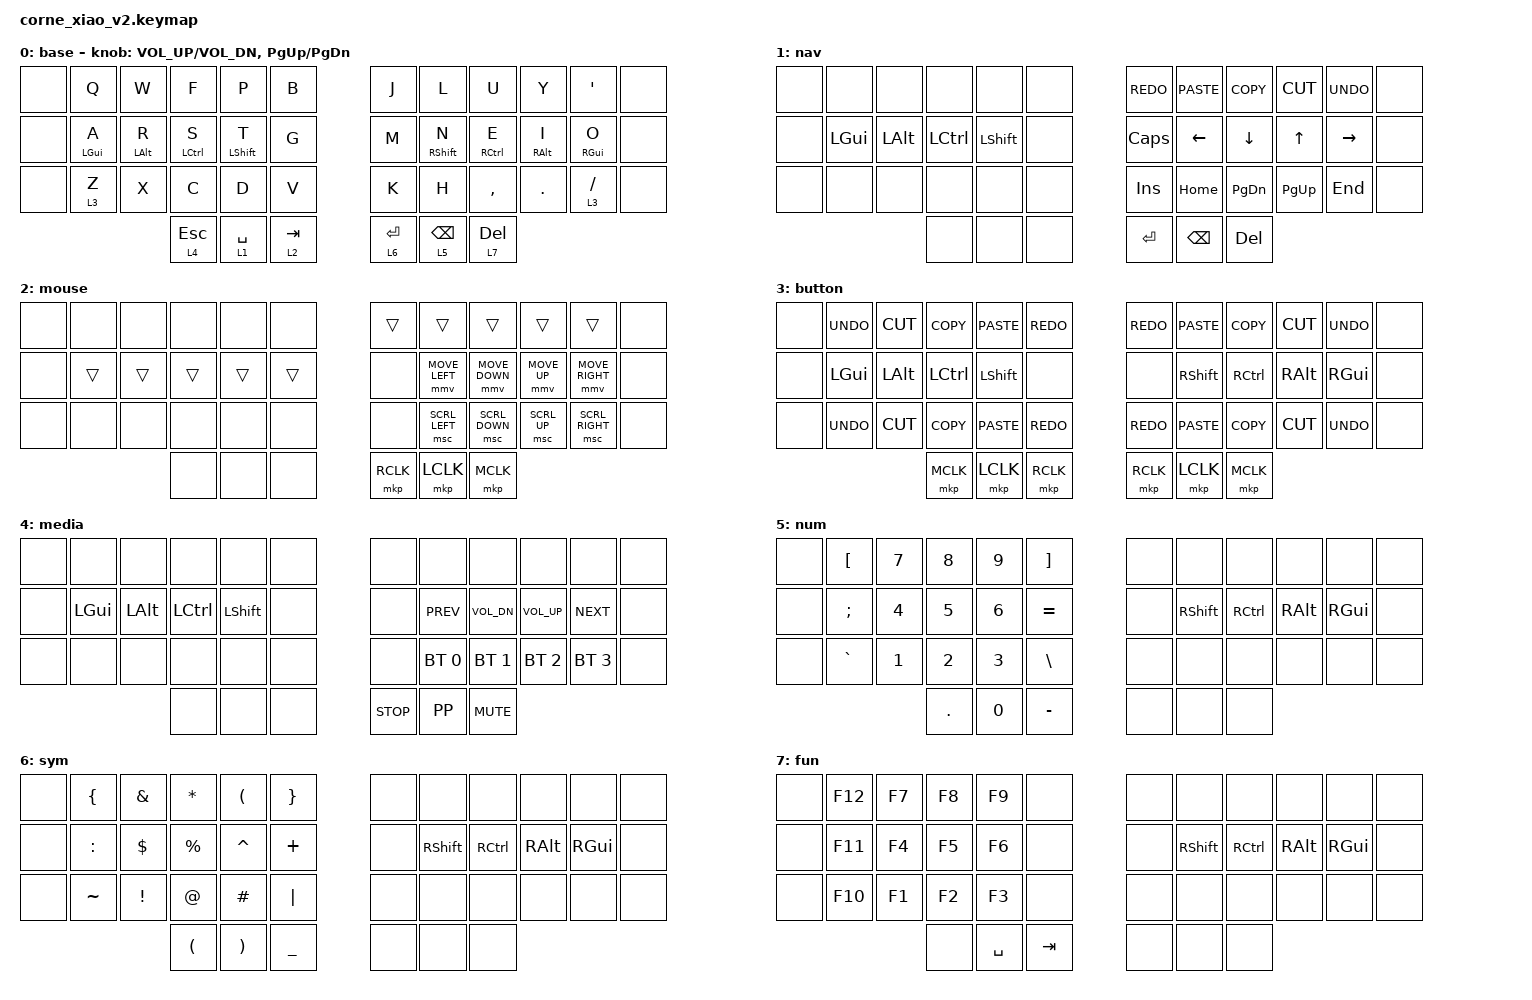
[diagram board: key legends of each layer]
#include <behaviors.dtsi>
#include <dt-bindings/zmk/bt.h>
#include <dt-bindings/zmk/keys.h>
#include <dt-bindings/zmk/pointing.h>

/ {
    combos {
        compatible = "zmk,combos";

        combo_studio_unlock {
            timeout-ms = <50>;
            key-positions = <0 1>;
            bindings = <&studio_unlock>;
        };
    };
};

/ {
    behaviors {
        hl: home_row_mod_left {
            compatible = "zmk,behavior-hold-tap";
            #binding-cells = <2>;
            flavor = "balanced";
            require-prior-idle-ms = <150>;
            tapping-term-ms = <280>;
            quick-tap-ms = <175>;
            bindings = <&kp>, <&kp>;
            hold-trigger-key-positions = < ... >; // List of keys on the right side of the keyboard
            hold-trigger-on-release;
        };
        hr: home_row_mod_right {
            compatible = "zmk,behavior-hold-tap";
            #binding-cells = <2>;
            flavor = "balanced";
            require-prior-idle-ms = <150>;
            tapping-term-ms = <280>;
            quick-tap-ms = <175>;
            bindings = <&kp>, <&kp>;
            hold-trigger-key-positions = < ... >; // List of keys on the left side of the keyboard
            hold-trigger-on-release;
        };
    };
};

/ {
    keymap {
        compatible = "zmk,keymap";

        default_layer {
            display-name = "base";
            sensor-bindings = <&inc_dec_kp C_VOL_UP C_VOL_DN &inc_dec_kp PG_UP PG_DN>;

            // -------------------------------------------------------------------------------------------------
            // |  TAB |  Q  |  W  |  E  |  R  |  T  |                    |  Y  |  U   |  I  |  O  |  P  | BKSP |
            // |  ESC |  A  |  S  |  D  |  F  |  G  |                    |  H  |  J   |  K  |  L  |  ;  |  '   |
            // | SHFT |  Z  |  X  |  C  |  V  |  B  |        |  |        |  N  |  M   |  ,  |  .  |  /  | CTRL |
            //                    | GUI | LWR | RET |                    | SPC | RSE  | ALT |

            bindings = <
&none  &kp Q       &kp W       &kp F        &kp P        &kp B        &kp J      &kp L            &kp U        &kp Y       &kp SQT     &none
&none  &hl LGUI A  &hl LALT R  &hl LCTRL S  &hl LSHFT T  &kp G        &kp M      &hr RSHFT N      &hr RCTRL E  &hr RALT I  &hr RGUI O  &none
&none  &lt 3 Z     &kp X       &kp C        &kp D        &kp V        &kp K      &kp H            &kp COMMA    &kp DOT     &lt 3 FSLH  &none
                               &lt 4 ESC    &lt 1 SPACE  &lt 2 TAB    &lt 6 RET  &lt 5 BACKSPACE  &lt 7 DEL
            >;
        };

        nav {
            bindings = <
&none  &none     &none     &none      &none       &none    &kp K_REDO  &kp K_PASTE  &kp K_COPY  &kp K_CUT  &kp K_UNDO  &none
&none  &kp LGUI  &kp LALT  &kp LCTRL  &kp LSHIFT  &none    &kp CLCK    &kp LEFT     &kp DOWN    &kp UP     &kp RIGHT   &none
&none  &none     &none     &none      &none       &none    &kp INS     &kp HOME     &kp PG_DN   &kp PG_UP  &kp END     &none
                           &none      &none       &none    &kp RET     &kp BSPC     &kp DELETE
            >;
        };

        mouse {
            bindings = <
&none  &none   &none   &none   &none   &none     &trans     &trans          &trans          &trans        &trans           &none
&none  &trans  &trans  &trans  &trans  &trans    &none      &mmv MOVE_LEFT  &mmv MOVE_DOWN  &mmv MOVE_UP  &mmv MOVE_RIGHT  &none
&none  &none   &none   &none   &none   &none     &none      &msc SCRL_LEFT  &msc SCRL_DOWN  &msc SCRL_UP  &msc SCRL_RIGHT  &none
                       &none   &none   &none     &mkp RCLK  &mkp LCLK       &mkp MCLK
            >;
        };

        button {
            bindings = <
&none  &kp K_UNDO  &kp K_CUT  &kp K_COPY  &kp K_PASTE  &kp K_REDO    &kp K_REDO  &kp K_PASTE  &kp K_COPY  &kp K_CUT  &kp K_UNDO  &none
&none  &kp LGUI    &kp LALT   &kp LCTRL   &kp LSHIFT   &none         &none       &kp RSHFT    &kp RCTRL   &kp RALT   &kp RGUI    &none
&none  &kp K_UNDO  &kp K_CUT  &kp K_COPY  &kp K_PASTE  &kp K_REDO    &kp K_REDO  &kp K_PASTE  &kp K_COPY  &kp K_CUT  &kp K_UNDO  &none
                              &mkp MCLK   &mkp LCLK    &mkp RCLK     &mkp RCLK   &mkp LCLK    &mkp MCLK
            >;
        };

        media {
            bindings = <
&none  &none     &none     &none      &none      &none    &none       &none         &none         &none         &none         &none
&none  &kp LGUI  &kp LALT  &kp LCTRL  &kp LSHFT  &none    &none       &kp K_PREV    &kp C_VOL_DN  &kp C_VOL_UP  &kp K_NEXT    &none
&none  &none     &none     &none      &none      &none    &none       &bt BT_SEL 0  &bt BT_SEL 1  &bt BT_SEL 2  &bt BT_SEL 3  &none
                           &none      &none      &none    &kp K_STOP  &kp K_PP      &kp K_MUTE
            >;
        };

        num {
            bindings = <
&none  &kp LEFT_BRACKET  &kp N7  &kp N8   &kp N9  &kp RIGHT_BRACKET    &none  &none       &none      &none     &none     &none
&none  &kp SEMI          &kp N4  &kp N5   &kp N6  &kp EQUAL            &none  &kp RSHIFT  &kp RCTRL  &kp RALT  &kp RGUI  &none
&none  &kp GRAVE         &kp N1  &kp N2   &kp N3  &kp BACKSLASH        &none  &none       &none      &none     &none     &none
                                 &kp DOT  &kp N0  &kp MINUS            &none  &none       &none
            >;
        };

        sym {
            bindings = <
&none  &kp LEFT_BRACE  &kp AMPS    &kp STAR              &kp LEFT_PARENTHESIS   &kp RIGHT_BRACE    &none  &none      &none      &none     &none     &none
&none  &kp COLON       &kp DOLLAR  &kp PERCENT           &kp CARET              &kp PLUS           &none  &kp RSHFT  &kp RCTRL  &kp RALT  &kp RGUI  &none
&none  &kp TILDE       &kp EXCL    &kp AT                &kp HASH               &kp PIPE           &none  &none      &none      &none     &none     &none
                                   &kp LEFT_PARENTHESIS  &kp RIGHT_PARENTHESIS  &kp UNDER          &none  &none      &none
            >;
        };

        fun {
            bindings = <
&none  &kp F12  &kp F7  &kp F8  &kp F9     &none      &none  &none       &none      &none     &none     &none
&none  &kp F11  &kp F4  &kp F5  &kp F6     &none      &none  &kp RSHIFT  &kp RCTRL  &kp RALT  &kp RGUI  &none
&none  &kp F10  &kp F1  &kp F2  &kp F3     &none      &none  &none       &none      &none     &none     &none
                        &none   &kp SPACE  &kp TAB    &none  &none       &none
            >;
        };
    };
};

